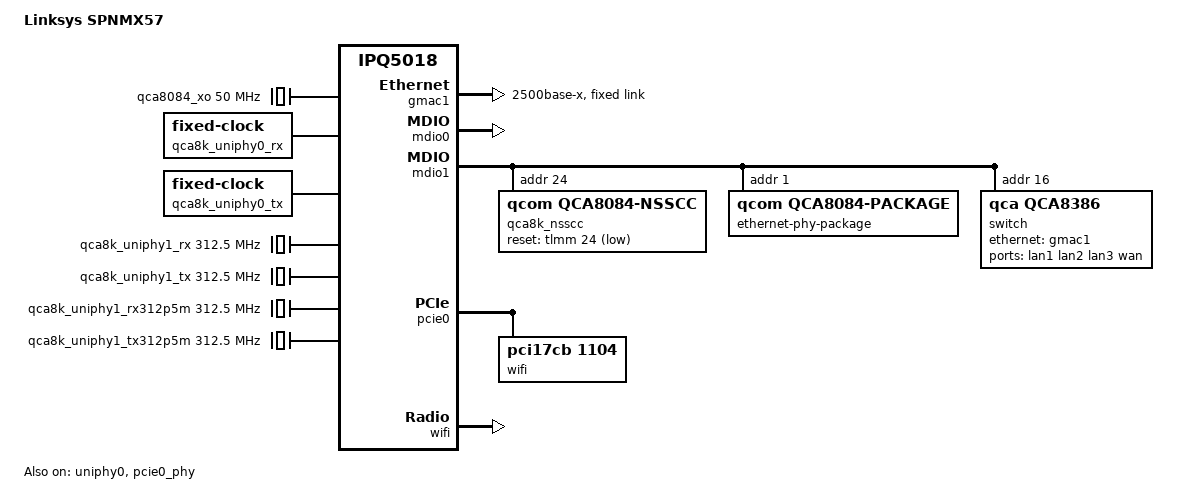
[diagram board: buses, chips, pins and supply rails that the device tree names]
/dts-v1/;

#include "ipq5018.dtsi"
#include "ipq5018-ess.dtsi"
#include "ipq5018-mx-base.dtsi"

#include <dt-bindings/clock/qcom,qca8k-nsscc.h>
#include <dt-bindings/reset/qcom,qca8k-nsscc.h>
#include <dt-bindings/net/qcom,qca808x.h>

/ {
	model = "Linksys SPNMX57";
	compatible = "linksys,spnmx57", "qcom,ipq5018";

	chosen {
		bootargs-append = " root=/dev/ubiblock0_0 coherent_pool=2M";
		stdout-path = "serial0:115200n8";
	};

	qca8084_xo: clock-qca8084-xo {
		compatible = "fixed-clock";
		#clock-cells = <0>;
		clock-frequency = <50000000>;
	};

	qca8k_uniphy0_rx: clock-qca8k-uniphy0-rx {
		compatible = "fixed-clock";
		#clock-cells = <0>;
		clock-frequency = <0>;
	};

	qca8k_uniphy0_tx: clock-qca8k-uniphy0-tx {
		compatible = "fixed-clock";
		#clock-cells = <0>;
		clock-frequency = <0>;
	};

	qca8k_uniphy1_rx: clock-qca8k-uniphy1-rx {
		compatible = "fixed-clock";
		#clock-cells = <0>;
		clock-frequency = <312500000>;
	};

	qca8k_uniphy1_tx: clock-qca8k-uniphy1-tx {
		compatible = "fixed-clock";
		#clock-cells = <0>;
		clock-frequency = <312500000>;
	};

	qca8k_uniphy1_rx312p5m: clock-qca8k-uniphy1-rx312p5m {
		compatible = "fixed-clock";
		#clock-cells = <0>;
		clock-frequency = <312500000>;
	};

	qca8k_uniphy1_tx312p5m: clock-qca8k-uniphy1-tx312p5m {
		compatible = "fixed-clock";
		#clock-cells = <0>;
		clock-frequency = <312500000>;
	};
};

&uniphy0 {
	status = "okay";

	assigned-clocks = <&uniphy0 UNIPHY_CLK_REF>;
	assigned-clock-rates = <UNIPHY_REFCLK_50MHZ>;
};

/* MAC1 ---SGMII+ 2.5G---> QCA8386 CPU port (port 0) */
&gmac1 {
	status = "okay";

	phy-mode = "2500base-x";

	nvmem-cells = <&hw_mac_addr 0>;
	nvmem-cell-names = "mac-address";

	fixed-link {
		speed = <2500>;
		full-duplex;
		pause;
	};
};

&mdio0 {
	status = "okay";
};

&mdio1 {
	status = "okay";

	pinctrl-0 = <&mdio1_pins>;
	pinctrl-names = "default";

	qca8k_nsscc: clock-controller@18 {
		compatible = "qcom,qca8084-nsscc";
		reg = <0x18>;
		reset-gpios = <&tlmm 24 GPIO_ACTIVE_LOW>;
		#clock-cells = <1>;
		#reset-cells = <1>;
		#power-domain-cells = <1>;

		clocks = <&qca8084_xo>,
			 <&qca8k_uniphy0_rx>,
			 <&qca8k_uniphy0_tx>,
			 <&qca8k_uniphy1_rx>,
			 <&qca8k_uniphy1_tx>,
			 <&qca8k_uniphy1_rx312p5m>,
			 <&qca8k_uniphy1_tx312p5m>;
	};

	ethernet-phy-package@1 {
		compatible = "qcom,qca8084-package";
		reg = <1>;
		#address-cells = <1>;
		#size-cells = <0>;

		clocks = <&qca8k_nsscc NSS_CC_APB_BRIDGE_CLK>,
			 <&qca8k_nsscc NSS_CC_AHB_CLK>,
			 <&qca8k_nsscc NSS_CC_SEC_CTRL_AHB_CLK>,
			 <&qca8k_nsscc NSS_CC_TLMM_CLK>,
			 <&qca8k_nsscc NSS_CC_TLMM_AHB_CLK>,
			 <&qca8k_nsscc NSS_CC_CNOC_AHB_CLK>,
			 <&qca8k_nsscc NSS_CC_MDIO_AHB_CLK>,
			 <&qca8k_nsscc NSS_CC_MDIO_MASTER_AHB_CLK>,
			 <&qca8k_nsscc NSS_CC_SWITCH_CORE_CLK>;
		/* switch_core and mdio_master_ahb MUST be claimed: the driver
		 * looks up all nine, and any branch with no consumer is turned
		 * off by clk_disable_unused() - which silently kills the switch
		 * datapath in switch mode.
		 */
		clock-names = "apb_bridge",
			      "ahb",
			      "sec_ctrl_ahb",
			      "tlmm",
			      "tlmm_ahb",
			      "cnoc_ahb",
			      "mdio_ahb",
			      "mdio_master_ahb",
			      "switch_core";
		resets = <&qca8k_nsscc NSS_CC_GEPHY_FULL_ARES>;

		qcom,package-mode = <QCA808X_PCS1_SGMII_MAC_PCS0_SGMII_MAC>;
		qcom,phy-addr-fixup = <1 2 3 4 5 6 7>;

		ephy1: ethernet-phy@1 {
			compatible = "ethernet-phy-id004d.d180";
			reg = <1>;
			clocks = <&qca8k_nsscc NSS_CC_GEPHY0_SYS_CLK>;
			resets = <&qca8k_nsscc NSS_CC_GEPHY0_SYS_ARES>;
		};

		ephy2: ethernet-phy@2 {
			compatible = "ethernet-phy-id004d.d180";
			reg = <2>;
			clocks = <&qca8k_nsscc NSS_CC_GEPHY1_SYS_CLK>;
			resets = <&qca8k_nsscc NSS_CC_GEPHY1_SYS_ARES>;
		};

		ephy3: ethernet-phy@3 {
			compatible = "ethernet-phy-id004d.d180";
			reg = <3>;
			clocks = <&qca8k_nsscc NSS_CC_GEPHY2_SYS_CLK>;
			resets = <&qca8k_nsscc NSS_CC_GEPHY2_SYS_ARES>;
		};

		ephy4: ethernet-phy@4 {
			compatible = "ethernet-phy-id004d.d180";
			reg = <4>;
			clocks = <&qca8k_nsscc NSS_CC_GEPHY3_SYS_CLK>;
			resets = <&qca8k_nsscc NSS_CC_GEPHY3_SYS_ARES>;
		};

		/* PCS1 SGMII+ carrying the MAC0 (CPU) uplink. */
		pcs-phy@6 {
			compatible = "qcom,qca8k-pcs-phy";
			reg = <6>;
			clocks = <&qca8k_nsscc NSS_CC_SRDS1_SYS_CLK>,
				 <&qca8k_uniphy1_tx312p5m>,
				 <&qca8k_uniphy1_rx312p5m>;
			clock-names = "pcs", "pcs_rx_root", "pcs_tx_root";
			resets = <&qca8k_nsscc NSS_CC_SRDS1_SYS_ARES>;
		};
	};

	/* QCA8386 switch: register window at pseudo-PHY 0x10. */
	switch@10 {
		compatible = "qca,qca8386";
		reg = <0x10>;
		#address-cells = <1>;
		#size-cells = <0>;

		resets = <&qca8k_nsscc NSS_CC_SWITCH_CORE_ARES>,
			 <&qca8k_nsscc NSS_CC_MAC0_TX_ARES>,
			 <&qca8k_nsscc NSS_CC_MAC0_RX_ARES>,
			 <&qca8k_nsscc NSS_CC_MAC1_TX_ARES>,
			 <&qca8k_nsscc NSS_CC_MAC1_RX_ARES>,
			 <&qca8k_nsscc NSS_CC_MAC2_TX_ARES>,
			 <&qca8k_nsscc NSS_CC_MAC2_RX_ARES>,
			 <&qca8k_nsscc NSS_CC_MAC3_TX_ARES>,
			 <&qca8k_nsscc NSS_CC_MAC3_RX_ARES>,
			 <&qca8k_nsscc NSS_CC_MAC4_TX_ARES>,
			 <&qca8k_nsscc NSS_CC_MAC4_RX_ARES>,
			 <&qca8k_nsscc NSS_CC_MAC5_TX_ARES>,
			 <&qca8k_nsscc NSS_CC_MAC5_RX_ARES>;
		reset-names = "switch_core",
			      "mac0_tx",
			      "mac0_rx",
			      "mac1_tx",
			      "mac1_rx",
			      "mac2_tx",
			      "mac2_rx",
			      "mac3_tx",
			      "mac3_rx",
			      "mac4_tx",
			      "mac4_rx",
			      "mac5_tx",
			      "mac5_rx";

		clocks = <&qca8k_nsscc NSS_CC_MAC0_TX_CLK>,
			 <&qca8k_nsscc NSS_CC_MAC0_RX_CLK>,
			 <&qca8k_nsscc NSS_CC_MAC0_TX_SRDS1_CLK>,
			 <&qca8k_nsscc NSS_CC_MAC0_RX_SRDS1_CLK>,
			 <&qca8k_nsscc NSS_CC_MAC1_TX_CLK>,
			 <&qca8k_nsscc NSS_CC_MAC1_RX_CLK>,
			 <&qca8k_nsscc NSS_CC_MAC1_GEPHY0_TX_CLK>,
			 <&qca8k_nsscc NSS_CC_MAC1_GEPHY0_RX_CLK>,
			 <&qca8k_nsscc NSS_CC_MAC2_TX_CLK>,
			 <&qca8k_nsscc NSS_CC_MAC2_RX_CLK>,
			 <&qca8k_nsscc NSS_CC_MAC2_GEPHY1_TX_CLK>,
			 <&qca8k_nsscc NSS_CC_MAC2_GEPHY1_RX_CLK>,
			 <&qca8k_nsscc NSS_CC_MAC3_TX_CLK>,
			 <&qca8k_nsscc NSS_CC_MAC3_RX_CLK>,
			 <&qca8k_nsscc NSS_CC_MAC3_GEPHY2_TX_CLK>,
			 <&qca8k_nsscc NSS_CC_MAC3_GEPHY2_RX_CLK>,
			 <&qca8k_nsscc NSS_CC_MAC4_TX_CLK>,
			 <&qca8k_nsscc NSS_CC_MAC4_RX_CLK>,
			 <&qca8k_nsscc NSS_CC_MAC4_GEPHY3_TX_CLK>,
			 <&qca8k_nsscc NSS_CC_MAC4_GEPHY3_RX_CLK>;
		clock-names = "mac0_tx",
			      "mac0_rx",
			      "mac0_tx_srds1",
			      "mac0_rx_srds1",
			      "mac1_tx",
			      "mac1_rx",
			      "mac1_gephy_tx",
			      "mac1_gephy_rx",
			      "mac2_tx",
			      "mac2_rx",
			      "mac2_gephy_tx",
			      "mac2_gephy_rx",
			      "mac3_tx",
			      "mac3_rx",
			      "mac3_gephy_tx",
			      "mac3_gephy_rx",
			      "mac4_tx",
			      "mac4_rx",
			      "mac4_gephy_tx",
			      "mac4_gephy_rx";

		ports {
			#address-cells = <1>;
			#size-cells = <0>;

			port@0 {
				reg = <0>;
				ethernet = <&gmac1>;
				phy-mode = "2500base-x";

				fixed-link {
					speed = <2500>;
					full-duplex;
				};
			};

			port@1 {
				reg = <1>;
				label = "lan1";
				phy-mode = "internal";
				phy-handle = <&ephy1>;
			};

			port@2 {
				reg = <2>;
				label = "lan2";
				phy-mode = "internal";
				phy-handle = <&ephy2>;
			};

			port@3 {
				reg = <3>;
				label = "lan3";
				phy-mode = "internal";
				phy-handle = <&ephy3>;
			};

			port@4 {
				reg = <4>;
				label = "wan";
				phy-mode = "internal";
				phy-handle = <&ephy4>;
			};
		};
	};
};

&pcie0_phy {
	status = "okay";
};

&pcie0 {
	status = "okay";

	perst-gpios = <&tlmm 15 GPIO_ACTIVE_LOW>;

	pcie@0 {
		wifi@0,0 {
			status = "okay";

			/* QCN9074: ath11k lacks DT compatible for PCI cards */
			compatible = "pci17cb,1104";
			reg = <0x00010000 0 0 0 0>;

			qcom,calibration-variant = "Linksys-SPNMX57";
		};
	};
};

&q6v5_wcss {
	firmware-name = "ath11k/IPQ5018/hw1.0/q6_fw.mdt",
			"ath11k/IPQ5018/hw1.0/m3_fw.mdt";
};

&wifi {
	status = "okay";

	qcom,rproc = <&q6v5_wcss>;
	qcom,calibration-variant = "Linksys-SPNMX57";
	qcom,ath11k-fw-memory-mode = <1>;
};
